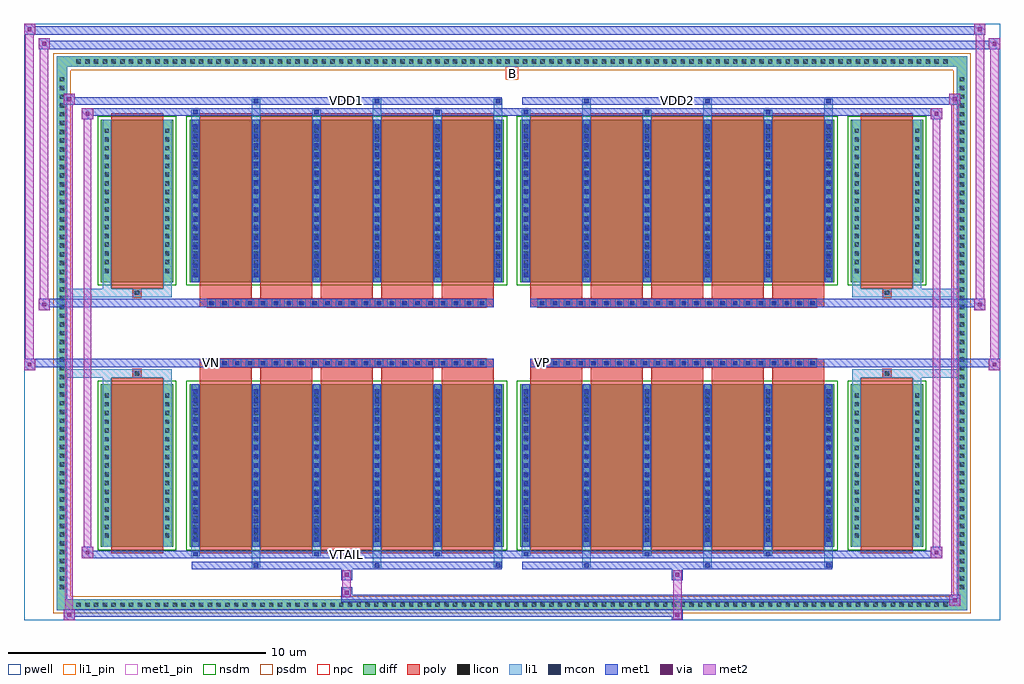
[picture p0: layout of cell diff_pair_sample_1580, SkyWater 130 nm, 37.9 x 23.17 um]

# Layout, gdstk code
import gdstk
lib = gdstk.Library(unit=1e-6, precision=5e-09)
def R(c, l, rs):  # rectangles x0, y0, x1, y1
    for r in rs: c.add(gdstk.rectangle(r[:2], r[2:], *l))
def A(c, l, x, y, w, h, nx, ny, dx, dy):  # array of equal rectangles
    R(c, l, [(x+i*dx, y+j*dy, x+i*dx+w, y+j*dy+h) for i in range(nx) for j in range(ny)])
def P(c, l, *ps):  # polygons
    for p in ps: c.add(gdstk.Polygon(p, *l))
pwell = (64, 44)
diff = (65, 20)
poly = (66, 20)
licon = (66, 44)
li1_pin = (67, 16)
li1 = (67, 20)
mcon = (67, 44)
met1_pin = (68, 16)
met1 = (68, 20)
via = (68, 44)
met2 = (69, 20)
nsdm = (93, 44)
psdm = (94, 20)
npc = (95, 20)

diff_pair_sample_1580 = lib.new_cell('diff_pair_sample_1580')
R(diff_pair_sample_1580, pwell, [(-18.95,-11.15,18.95,12.02), (-16.27,-9.34,-0.01,-0.8), (0.01,-9.34,16.27,-0.8), (-16.27,0.8,-0.01,9.34), (0.01,0.8,16.27,9.34)])
A(diff_pair_sample_1580, diff, -17.035, -10.75, 0.41, 0.41, 100, 2, 0.34, 21.09)
A(diff_pair_sample_1580, diff, -17.68, -10.065, 0.41, 0.41, 1, 59, 0, 0.34)
A(diff_pair_sample_1580, diff, 17.27, -10.065, 0.41, 0.41, 1, 59, 0, 0.34)
R(diff_pair_sample_1580, diff, [(-17.035,-10.75,17.035,-10.34), (-17.68,-10.065,-17.27,10.065), (17.27,-10.065,17.68,10.065), (-15.96,-8.295,-13.16,-1.985), (-12.52,-8.295,-0.32,-1.985), (0.32,-8.295,12.52,-1.985), (13.16,-8.295,15.96,-1.985), (-15.96,1.985,-13.16,8.295), (-12.52,1.985,-0.32,8.295), (0.32,1.985,12.52,8.295), (13.16,1.985,15.96,8.295), (-17.035,10.34,17.035,10.75)])
P(diff_pair_sample_1580, diff, [(17.68,10.75),(-17.68,10.75),(-17.68,-10.34),(-17.27,-10.34),(-17.27,10.34),(17.27,10.34),(17.27,-10.34),(-17.27,-10.34),(-17.68,-10.34),(-17.68,-10.75),(17.68,-10.75)])
A(diff_pair_sample_1580, poly, -12.13, -8.545, 2.02, 6.81, 5, 2, 2.35, 10.28)
A(diff_pair_sample_1580, poly, 0.71, -8.545, 2.02, 6.81, 5, 2, 2.35, 10.28)
A(diff_pair_sample_1580, poly, -12.13, -1.735, 2.02, 0.405, 5, 2, 2.35, 3.065)
A(diff_pair_sample_1580, poly, 0.71, -1.735, 2.02, 0.405, 5, 2, 2.35, 3.065)
A(diff_pair_sample_1580, poly, -11.835, -1.33, 0.33, 0.33, 22, 2, 0.5, 2.33)
A(diff_pair_sample_1580, poly, 1.005, -1.33, 0.33, 0.33, 22, 2, 0.5, 2.33)
R(diff_pair_sample_1580, poly, [(-15.57,-8.545,-13.55,-1.735), (13.55,-8.545,15.57,-1.735), (-14.725,-1.735,-14.395,-1.405), (-14.725,-1.735,-14.395,-1.405), (14.395,-1.735,14.725,-1.405), (14.395,-1.735,14.725,-1.405), (-12.13,-1.33,-0.71,-1), (0.71,-1.33,12.13,-1), (-12.13,1,-0.71,1.33), (0.71,1,12.13,1.33), (-14.725,1.405,-14.395,1.735), (-14.725,1.405,-14.395,1.735), (14.395,1.405,14.725,1.735), (14.395,1.405,14.725,1.735), (-15.57,1.735,-13.55,8.545), (13.55,1.735,15.57,8.545)])
A(diff_pair_sample_1580, licon, -16.915, -10.63, 0.17, 0.17, 100, 2, 0.34, 21.09)
A(diff_pair_sample_1580, licon, -17.56, -9.945, 0.17, 0.17, 1, 59, 0, 0.34)
A(diff_pair_sample_1580, licon, 17.39, -9.945, 0.17, 0.17, 1, 59, 0, 0.34)
A(diff_pair_sample_1580, licon, -15.82, -7.945, 0.17, 0.17, 1, 17, 0, 0.34)
A(diff_pair_sample_1580, licon, -13.47, -7.945, 0.17, 0.17, 1, 17, 0, 0.34)
A(diff_pair_sample_1580, licon, -12.38, -7.945, 0.17, 0.17, 6, 17, 2.35, 0.34)
A(diff_pair_sample_1580, licon, 0.46, -7.945, 0.17, 0.17, 6, 17, 2.35, 0.34)
A(diff_pair_sample_1580, licon, 13.3, -7.945, 0.17, 0.17, 1, 17, 0, 0.34)
A(diff_pair_sample_1580, licon, 15.65, -7.945, 0.17, 0.17, 1, 17, 0, 0.34)
A(diff_pair_sample_1580, licon, -11.755, -1.25, 0.17, 0.17, 22, 2, 0.5, 2.33)
A(diff_pair_sample_1580, licon, 1.085, -1.25, 0.17, 0.17, 22, 2, 0.5, 2.33)
A(diff_pair_sample_1580, licon, -15.82, 2.335, 0.17, 0.17, 1, 17, 0, 0.34)
A(diff_pair_sample_1580, licon, -13.47, 2.335, 0.17, 0.17, 1, 17, 0, 0.34)
A(diff_pair_sample_1580, licon, -12.38, 2.335, 0.17, 0.17, 6, 17, 2.35, 0.34)
A(diff_pair_sample_1580, licon, 0.46, 2.335, 0.17, 0.17, 6, 17, 2.35, 0.34)
A(diff_pair_sample_1580, licon, 13.3, 2.335, 0.17, 0.17, 1, 17, 0, 0.34)
A(diff_pair_sample_1580, licon, 15.65, 2.335, 0.17, 0.17, 1, 17, 0, 0.34)
R(diff_pair_sample_1580, licon, [(-14.645,-1.655,-14.475,-1.485), (14.475,-1.655,14.645,-1.485), (-14.645,1.485,-14.475,1.655), (14.475,1.485,14.645,1.655)])
R(diff_pair_sample_1580, li1_pin, [(-0.25,9.84,0.25,10.34)])
A(diff_pair_sample_1580, li1, -16.995, -10.71, 0.33, 0.33, 100, 2, 0.34, 21.09)
A(diff_pair_sample_1580, li1, -17.64, -10.025, 0.33, 0.33, 1, 59, 0, 0.34)
A(diff_pair_sample_1580, li1, 17.31, -10.025, 0.33, 0.33, 1, 59, 0, 0.34)
A(diff_pair_sample_1580, li1, -10.11, -9.1, 0.33, 0.805, 3, 2, 4.7, 17.395)
A(diff_pair_sample_1580, li1, -10.03, -9.1, 0.17, 0.17, 3, 2, 4.7, 18.03)
A(diff_pair_sample_1580, li1, 2.73, -9.1, 0.33, 0.805, 3, 2, 4.7, 17.395)
A(diff_pair_sample_1580, li1, 2.81, -9.1, 0.17, 0.17, 3, 2, 4.7, 18.03)
A(diff_pair_sample_1580, li1, -12.46, -8.67, 0.33, 0.375, 3, 2, 4.7, 16.965)
A(diff_pair_sample_1580, li1, -12.38, -8.67, 0.17, 0.17, 3, 2, 4.7, 17.17)
A(diff_pair_sample_1580, li1, 0.38, -8.67, 0.33, 0.375, 3, 2, 4.7, 16.965)
A(diff_pair_sample_1580, li1, 0.46, -8.67, 0.17, 0.17, 3, 2, 4.7, 17.17)
A(diff_pair_sample_1580, li1, -12.46, -8.295, 0.33, 6.31, 6, 2, 2.35, 10.28)
A(diff_pair_sample_1580, li1, 0.38, -8.295, 0.33, 6.31, 6, 2, 2.35, 10.28)
A(diff_pair_sample_1580, li1, -12.38, -8.105, 0.17, 0.17, 6, 17, 2.35, 0.36)
A(diff_pair_sample_1580, li1, -12.38, -8.105, 0.17, 5.93, 6, 2, 2.35, 10.28)
A(diff_pair_sample_1580, li1, 0.46, -8.105, 0.17, 0.17, 6, 17, 2.35, 0.36)
A(diff_pair_sample_1580, li1, 0.46, -8.105, 0.17, 5.93, 6, 2, 2.35, 10.28)
A(diff_pair_sample_1580, li1, -15.9, -8.025, 0.33, 0.33, 1, 17, 0, 0.34)
A(diff_pair_sample_1580, li1, -13.55, -8.025, 0.33, 0.33, 1, 17, 0, 0.34)
A(diff_pair_sample_1580, li1, -12.46, -8.025, 0.33, 0.33, 6, 17, 2.35, 0.34)
A(diff_pair_sample_1580, li1, 0.38, -8.025, 0.33, 0.33, 6, 17, 2.35, 0.34)
A(diff_pair_sample_1580, li1, 13.22, -8.025, 0.33, 0.33, 1, 17, 0, 0.34)
A(diff_pair_sample_1580, li1, 15.57, -8.025, 0.33, 0.33, 1, 17, 0, 0.34)
A(diff_pair_sample_1580, li1, -11.835, -1.33, 0.33, 0.33, 22, 2, 0.5, 2.33)
A(diff_pair_sample_1580, li1, 1.005, -1.33, 0.33, 0.33, 22, 2, 0.5, 2.33)
A(diff_pair_sample_1580, li1, -12.38, 2.175, 0.17, 0.17, 6, 17, 2.35, 0.36)
A(diff_pair_sample_1580, li1, 0.46, 2.175, 0.17, 0.17, 6, 17, 2.35, 0.36)
A(diff_pair_sample_1580, li1, -15.9, 2.255, 0.33, 0.33, 1, 17, 0, 0.34)
A(diff_pair_sample_1580, li1, -13.55, 2.255, 0.33, 0.33, 1, 17, 0, 0.34)
A(diff_pair_sample_1580, li1, -12.46, 2.255, 0.33, 0.33, 6, 17, 2.35, 0.34)
A(diff_pair_sample_1580, li1, 0.38, 2.255, 0.33, 0.33, 6, 17, 2.35, 0.34)
A(diff_pair_sample_1580, li1, 13.22, 2.255, 0.33, 0.33, 1, 17, 0, 0.34)
A(diff_pair_sample_1580, li1, 15.57, 2.255, 0.33, 0.33, 1, 17, 0, 0.34)
R(diff_pair_sample_1580, li1, [(-17.68,-10.75,-17.27,-10.34), (-17.68,-10.75,-17.27,-10.34), (-17.27,-10.75,17.27,-10.34), (17.27,-10.75,17.68,-10.34), (17.27,-10.75,17.68,-10.34), (-17.68,-10.34,-17.27,10.34), (17.27,-10.34,17.68,10.34), (-15.9,-8.295,-15.57,-1.985), (-13.55,-8.295,-13.22,-1.985), (13.22,-8.295,13.55,-1.985), (15.57,-8.295,15.9,-1.985), (-15.9,-1.985,-15.57,-1.405), (-13.55,-1.985,-13.22,-1.405), (13.22,-1.985,13.55,-1.405), (15.57,-1.985,15.9,-1.405), (-17.68,-1.735,-14.725,-1.405), (-15.9,-1.735,-14.725,-1.405), (-14.725,-1.735,-14.395,-1.405), (-14.395,-1.735,-13.22,-1.405), (13.22,-1.735,14.395,-1.405), (14.395,-1.735,14.725,-1.405), (14.395,-1.735,17.68,-1.405), (14.725,-1.735,15.9,-1.405), (-17.68,1.405,-14.725,1.735), (-15.9,1.405,-14.725,1.735), (-15.9,1.405,-15.57,1.985), (-14.725,1.405,-14.395,1.735), (-14.395,1.405,-13.22,1.735), (-13.55,1.405,-13.22,1.985), (13.22,1.405,14.395,1.735), (13.22,1.405,13.55,1.985), (14.395,1.405,14.725,1.735), (14.395,1.405,17.68,1.735), (14.725,1.405,15.9,1.735), (15.57,1.405,15.9,1.985), (-15.9,1.985,-15.57,8.295), (-13.55,1.985,-13.22,8.295), (13.22,1.985,13.55,8.295), (15.57,1.985,15.9,8.295), (-17.68,10.34,-17.27,10.75), (-17.68,10.34,-17.27,10.75), (-17.27,10.34,17.27,10.75), (17.27,10.34,17.68,10.75), (17.27,10.34,17.68,10.75)])
A(diff_pair_sample_1580, mcon, -10.03, -9.1, 0.17, 0.17, 3, 2, 4.7, 18.03)
A(diff_pair_sample_1580, mcon, 2.81, -9.1, 0.17, 0.17, 3, 2, 4.7, 18.03)
A(diff_pair_sample_1580, mcon, -12.38, -8.67, 0.17, 0.17, 3, 2, 4.7, 17.17)
A(diff_pair_sample_1580, mcon, 0.46, -8.67, 0.17, 0.17, 3, 2, 4.7, 17.17)
A(diff_pair_sample_1580, mcon, -12.38, -8.105, 0.17, 0.17, 6, 17, 2.35, 0.36)
A(diff_pair_sample_1580, mcon, 0.46, -8.105, 0.17, 0.17, 6, 17, 2.35, 0.36)
A(diff_pair_sample_1580, mcon, -11.755, -1.25, 0.17, 0.17, 22, 2, 0.5, 2.33)
A(diff_pair_sample_1580, mcon, 1.085, -1.25, 0.17, 0.17, 22, 2, 0.5, 2.33)
A(diff_pair_sample_1580, mcon, -12.38, 2.175, 0.17, 0.17, 6, 17, 2.35, 0.36)
A(diff_pair_sample_1580, mcon, 0.46, 2.175, 0.17, 0.17, 6, 17, 2.35, 0.36)
R(diff_pair_sample_1580, met1_pin, [(-6.555,-8.71,-6.285,-8.44), (-11.805,-1.29,-11.535,-1.02), (1.035,-1.29,1.305,-1.02), (-6.555,8.89,-6.285,9.16), (6.285,8.89,6.555,9.16)])
A(diff_pair_sample_1580, met1, -10.09, -9.16, 0.29, 0.29, 3, 2, 4.7, 18.03)
A(diff_pair_sample_1580, met1, 2.75, -9.16, 0.29, 0.29, 3, 2, 4.7, 18.03)
A(diff_pair_sample_1580, met1, -12.44, -8.73, 0.29, 0.29, 3, 2, 4.7, 17.17)
A(diff_pair_sample_1580, met1, 0.4, -8.73, 0.29, 0.29, 3, 2, 4.7, 17.17)
A(diff_pair_sample_1580, met1, -12.44, -8.295, 0.29, 6.31, 6, 2, 2.35, 10.28)
A(diff_pair_sample_1580, met1, 0.4, -8.295, 0.29, 6.31, 6, 2, 2.35, 10.28)
A(diff_pair_sample_1580, met1, -12.44, -8.165, 0.29, 0.29, 6, 17, 2.35, 0.36)
A(diff_pair_sample_1580, met1, 0.4, -8.165, 0.29, 0.29, 6, 17, 2.35, 0.36)
A(diff_pair_sample_1580, met1, -11.815, -1.31, 0.29, 0.29, 22, 2, 0.5, 2.33)
A(diff_pair_sample_1580, met1, 1.025, -1.31, 0.29, 0.29, 22, 2, 0.5, 2.33)
A(diff_pair_sample_1580, met1, -12.44, 2.115, 0.29, 0.29, 6, 17, 2.35, 0.36)
A(diff_pair_sample_1580, met1, 0.4, 2.115, 0.29, 0.29, 6, 17, 2.35, 0.36)
R(diff_pair_sample_1580, met1, [(-17.41,-11.15,-16.98,-10.72), (6.205,-11.15,6.635,-10.72), (-17.41,-11.01,6.635,-10.72), (16.98,-10.58,17.41,-10.15), (-6.635,-10.44,17.41,-10.15), (-6.635,-10.3,-6.205,-9.87), (-6.635,-9.59,-6.205,-9.16), (6.205,-9.59,6.635,-9.16), (-12.44,-9.16,-0.4,-8.87), (0.4,-9.16,12.44,-8.87), (-16.7,-8.73,-16.27,-8.3), (-16.7,-8.73,-12.44,-8.44), (-12.44,-8.73,-0.4,-8.44), (-0.4,-8.73,0.4,-8.44), (0.4,-8.73,12.44,-8.44), (12.44,-8.73,16.7,-8.44), (16.27,-8.73,16.7,-8.3), (-18.95,-1.43,-18.52,-1), (18.52,-1.43,18.95,-1), (-18.95,-1.33,-0.71,-1), (-12.13,-1.33,-0.71,-1), (0.71,-1.33,12.13,-1), (0.71,-1.33,18.95,-1), (-18.38,0.9,-17.95,1.33), (17.95,0.9,18.38,1.33), (-18.38,1,-12.13,1.33), (-12.13,1,-0.71,1.33), (0.71,1,12.13,1.33), (12.13,1,18.38,1.33), (-16.7,8.3,-16.27,8.73), (16.27,8.3,16.7,8.73), (-16.7,8.44,-12.44,8.73), (-12.44,8.44,-0.4,8.73), (-0.4,8.44,0.4,8.73), (0.4,8.44,12.44,8.73), (12.44,8.44,16.7,8.73), (-17.41,8.87,-16.98,9.3), (-17.41,8.87,-12.44,9.16), (-12.44,8.87,-0.4,9.16), (0.4,8.87,12.44,9.16), (12.44,8.87,17.41,9.16), (16.98,8.87,17.41,9.3), (-18.38,11.02,-17.95,11.45), (-18.38,11.02,-16.27,11.35), (-16.27,11.02,16.27,11.35), (16.27,11.02,18.95,11.35), (18.52,11.02,18.95,11.45), (-18.95,11.59,-18.52,12.02), (-18.95,11.59,-16.27,11.92), (-16.27,11.59,16.27,11.92), (16.27,11.59,18.38,11.92), (17.95,11.59,18.38,12.02)])
R(diff_pair_sample_1580, via, [(-17.27,-11.01,-17.12,-10.86), (6.345,-11.01,6.495,-10.86), (17.12,-10.44,17.27,-10.29), (-6.495,-10.16,-6.345,-10.01), (-6.495,-9.45,-6.345,-9.3), (6.345,-9.45,6.495,-9.3), (-16.56,-8.59,-16.41,-8.44), (16.41,-8.59,16.56,-8.44), (-18.81,-1.29,-18.66,-1.14), (18.66,-1.29,18.81,-1.14), (-18.24,1.04,-18.09,1.19), (18.09,1.04,18.24,1.19), (-16.56,8.44,-16.41,8.59), (16.41,8.44,16.56,8.59), (-17.27,9.01,-17.12,9.16), (17.12,9.01,17.27,9.16), (-18.24,11.16,-18.09,11.31), (18.66,11.16,18.81,11.31), (-18.81,11.73,-18.66,11.88), (18.09,11.73,18.24,11.88)])
R(diff_pair_sample_1580, met2, [(-17.41,-11.15,-16.98,-10.72), (-17.34,-11.15,-17.05,9.3), (-17.05,-11.15,-16.98,-10.72), (-17.36,-11.1,-17.03,-10.77), (6.255,-11.1,6.585,-10.77), (6.255,-10.77,6.585,-9.54), (16.98,-10.58,17.41,-10.15), (17.05,-10.58,17.34,9.3), (17.34,-10.58,17.41,-10.15), (17.03,-10.53,17.36,-10.2), (-6.585,-10.25,-6.255,-9.92), (-6.585,-9.92,-6.255,-9.54), (-6.585,-9.54,-6.255,-9.21), (6.255,-9.54,6.585,-9.21), (-16.7,-8.73,-16.27,-8.3), (-16.63,-8.73,-16.34,8.73), (-16.34,-8.73,-16.27,-8.3), (16.27,-8.73,16.7,-8.3), (16.34,-8.73,16.63,8.73), (16.63,-8.73,16.7,-8.3), (-16.65,-8.68,-16.32,-8.35), (16.32,-8.68,16.65,-8.35), (-18.95,-1.43,-18.52,-1), (-18.9,-1.43,-18.57,12.02), (-18.57,-1.43,-18.52,-1), (18.52,-1.43,18.95,-1), (18.57,-1.43,18.9,11.45), (18.9,-1.43,18.95,-1), (-18.9,-1.38,-18.57,-1.05), (18.57,-1.38,18.9,-1.05), (-18.38,0.9,-17.95,1.33), (-18.33,0.9,-18,11.45), (-18,0.9,-17.95,1.33), (17.95,0.9,18.38,1.33), (18,0.9,18.33,12.02), (18.33,0.9,18.38,1.33), (-18.33,0.95,-18,1.28), (18,0.95,18.33,1.28), (-16.7,8.3,-16.27,8.73), (-16.34,8.3,-16.27,8.73), (16.27,8.3,16.7,8.73), (16.63,8.3,16.7,8.73), (-16.65,8.35,-16.32,8.68), (16.32,8.35,16.65,8.68), (-17.41,8.87,-16.98,9.3), (-17.05,8.87,-16.98,9.3), (16.98,8.87,17.41,9.3), (17.34,8.87,17.41,9.3), (-17.36,8.92,-17.03,9.25), (17.03,8.92,17.36,9.25), (-18.38,11.02,-17.95,11.45), (-18,11.02,-17.95,11.45), (18.52,11.02,18.95,11.45), (18.9,11.02,18.95,11.45), (-18.33,11.07,-18,11.4), (18.57,11.07,18.9,11.4), (-18.95,11.59,-18.52,12.02), (-18.57,11.59,-18.52,12.02), (17.95,11.59,18.38,12.02), (18.33,11.59,18.38,12.02), (-18.9,11.64,-18.57,11.97), (18,11.64,18.33,11.97)])
R(diff_pair_sample_1580, nsdm, [(-16.09,-8.425,-13.03,-1.855), (-12.65,-8.425,-0.19,-1.855), (0.19,-8.425,12.65,-1.855), (13.03,-8.425,16.09,-1.855), (-16.09,1.855,-13.03,8.425), (-12.65,1.855,-0.19,8.425), (0.19,1.855,12.65,8.425), (13.03,1.855,16.09,8.425)])
P(diff_pair_sample_1580, psdm, [(17.81,10.88),(-17.81,10.88),(-17.81,-10.21),(-17.14,-10.21),(-17.14,10.21),(17.14,10.21),(17.14,-10.21),(-17.14,-10.21),(-17.81,-10.21),(-17.81,-10.88),(17.81,-10.88)])
A(diff_pair_sample_1580, npc, -11.855, -1.35, 0.37, 0.37, 22, 2, 0.5, 2.33)
A(diff_pair_sample_1580, npc, 0.985, -1.35, 0.37, 0.37, 22, 2, 0.5, 2.33)
R(diff_pair_sample_1580, npc, [(-14.745,-1.755,-14.375,-1.385), (14.375,-1.755,14.745,-1.385), (-11.855,-1.35,-10.985,-0.98), (-11.855,-1.35,-10.985,-0.98), (-11.355,-1.35,-10.485,-0.98), (-11.355,-1.35,-10.485,-0.98), (-10.855,-1.35,-9.985,-0.98), (-10.855,-1.35,-9.985,-0.98), (-10.355,-1.35,-9.485,-0.98), (-10.355,-1.35,-9.485,-0.98), (-9.855,-1.35,-8.985,-0.98), (-9.855,-1.35,-8.985,-0.98), (-9.355,-1.35,-8.485,-0.98), (-9.355,-1.35,-8.485,-0.98), (-8.855,-1.35,-7.985,-0.98), (-8.855,-1.35,-7.985,-0.98), (-8.355,-1.35,-7.485,-0.98), (-8.355,-1.35,-7.485,-0.98), (-7.855,-1.35,-6.985,-0.98), (-7.855,-1.35,-6.985,-0.98), (-7.355,-1.35,-6.485,-0.98), (-7.355,-1.35,-6.485,-0.98), (-6.855,-1.35,-5.985,-0.98), (-6.855,-1.35,-5.985,-0.98), (-6.355,-1.35,-5.485,-0.98), (-6.355,-1.35,-5.485,-0.98), (-5.855,-1.35,-4.985,-0.98), (-5.855,-1.35,-4.985,-0.98), (-5.355,-1.35,-4.485,-0.98), (-5.355,-1.35,-4.485,-0.98), (-4.855,-1.35,-3.985,-0.98), (-4.855,-1.35,-3.985,-0.98), (-4.355,-1.35,-3.485,-0.98), (-4.355,-1.35,-3.485,-0.98), (-3.855,-1.35,-2.985,-0.98), (-3.855,-1.35,-2.985,-0.98), (-3.355,-1.35,-2.485,-0.98), (-3.355,-1.35,-2.485,-0.98), (-2.855,-1.35,-1.985,-0.98), (-2.855,-1.35,-1.985,-0.98), (-2.355,-1.35,-1.485,-0.98), (-2.355,-1.35,-1.485,-0.98), (-1.855,-1.35,-0.985,-0.98), (-1.855,-1.35,-0.985,-0.98), (0.985,-1.35,1.855,-0.98), (0.985,-1.35,1.855,-0.98), (1.485,-1.35,2.355,-0.98), (1.485,-1.35,2.355,-0.98), (1.985,-1.35,2.855,-0.98), (1.985,-1.35,2.855,-0.98), (2.485,-1.35,3.355,-0.98), (2.485,-1.35,3.355,-0.98), (2.985,-1.35,3.855,-0.98), (2.985,-1.35,3.855,-0.98), (3.485,-1.35,4.355,-0.98), (3.485,-1.35,4.355,-0.98), (3.985,-1.35,4.855,-0.98), (3.985,-1.35,4.855,-0.98), (4.485,-1.35,5.355,-0.98), (4.485,-1.35,5.355,-0.98), (4.985,-1.35,5.855,-0.98), (4.985,-1.35,5.855,-0.98), (5.485,-1.35,6.355,-0.98), (5.485,-1.35,6.355,-0.98), (5.985,-1.35,6.855,-0.98), (5.985,-1.35,6.855,-0.98), (6.485,-1.35,7.355,-0.98), (6.485,-1.35,7.355,-0.98), (6.985,-1.35,7.855,-0.98), (6.985,-1.35,7.855,-0.98), (7.485,-1.35,8.355,-0.98), (7.485,-1.35,8.355,-0.98), (7.985,-1.35,8.855,-0.98), (7.985,-1.35,8.855,-0.98), (8.485,-1.35,9.355,-0.98), (8.485,-1.35,9.355,-0.98), (8.985,-1.35,9.855,-0.98), (8.985,-1.35,9.855,-0.98), (9.485,-1.35,10.355,-0.98), (9.485,-1.35,10.355,-0.98), (9.985,-1.35,10.855,-0.98), (9.985,-1.35,10.855,-0.98), (10.485,-1.35,11.355,-0.98), (10.485,-1.35,11.355,-0.98), (10.985,-1.35,11.855,-0.98), (10.985,-1.35,11.855,-0.98), (-11.855,0.98,-10.985,1.35), (-11.855,0.98,-10.985,1.35), (-11.355,0.98,-10.485,1.35), (-11.355,0.98,-10.485,1.35), (-10.855,0.98,-9.985,1.35), (-10.855,0.98,-9.985,1.35), (-10.355,0.98,-9.485,1.35), (-10.355,0.98,-9.485,1.35), (-9.855,0.98,-8.985,1.35), (-9.855,0.98,-8.985,1.35), (-9.355,0.98,-8.485,1.35), (-9.355,0.98,-8.485,1.35), (-8.855,0.98,-7.985,1.35), (-8.855,0.98,-7.985,1.35), (-8.355,0.98,-7.485,1.35), (-8.355,0.98,-7.485,1.35), (-7.855,0.98,-6.985,1.35), (-7.855,0.98,-6.985,1.35), (-7.355,0.98,-6.485,1.35), (-7.355,0.98,-6.485,1.35), (-6.855,0.98,-5.985,1.35), (-6.855,0.98,-5.985,1.35), (-6.355,0.98,-5.485,1.35), (-6.355,0.98,-5.485,1.35), (-5.855,0.98,-4.985,1.35), (-5.855,0.98,-4.985,1.35), (-5.355,0.98,-4.485,1.35), (-5.355,0.98,-4.485,1.35), (-4.855,0.98,-3.985,1.35), (-4.855,0.98,-3.985,1.35), (-4.355,0.98,-3.485,1.35), (-4.355,0.98,-3.485,1.35), (-3.855,0.98,-2.985,1.35), (-3.855,0.98,-2.985,1.35), (-3.355,0.98,-2.485,1.35), (-3.355,0.98,-2.485,1.35), (-2.855,0.98,-1.985,1.35), (-2.855,0.98,-1.985,1.35), (-2.355,0.98,-1.485,1.35), (-2.355,0.98,-1.485,1.35), (-1.855,0.98,-0.985,1.35), (-1.855,0.98,-0.985,1.35), (0.985,0.98,1.855,1.35), (0.985,0.98,1.855,1.35), (1.485,0.98,2.355,1.35), (1.485,0.98,2.355,1.35), (1.985,0.98,2.855,1.35), (1.985,0.98,2.855,1.35), (2.485,0.98,3.355,1.35), (2.485,0.98,3.355,1.35), (2.985,0.98,3.855,1.35), (2.985,0.98,3.855,1.35), (3.485,0.98,4.355,1.35), (3.485,0.98,4.355,1.35), (3.985,0.98,4.855,1.35), (3.985,0.98,4.855,1.35), (4.485,0.98,5.355,1.35), (4.485,0.98,5.355,1.35), (4.985,0.98,5.855,1.35), (4.985,0.98,5.855,1.35), (5.485,0.98,6.355,1.35), (5.485,0.98,6.355,1.35), (5.985,0.98,6.855,1.35), (5.985,0.98,6.855,1.35), (6.485,0.98,7.355,1.35), (6.485,0.98,7.355,1.35), (6.985,0.98,7.855,1.35), (6.985,0.98,7.855,1.35), (7.485,0.98,8.355,1.35), (7.485,0.98,8.355,1.35), (7.985,0.98,8.855,1.35), (7.985,0.98,8.855,1.35), (8.485,0.98,9.355,1.35), (8.485,0.98,9.355,1.35), (8.985,0.98,9.855,1.35), (8.985,0.98,9.855,1.35), (9.485,0.98,10.355,1.35), (9.485,0.98,10.355,1.35), (9.985,0.98,10.855,1.35), (9.985,0.98,10.855,1.35), (10.485,0.98,11.355,1.35), (10.485,0.98,11.355,1.35), (10.985,0.98,11.855,1.35), (10.985,0.98,11.855,1.35), (-14.745,1.385,-14.375,1.755), (14.375,1.385,14.745,1.755)])
diff_pair_sample_1580.add(gdstk.Label('VTAIL', (-6.42,-8.575), layer=68, texttype=5))
diff_pair_sample_1580.add(gdstk.Label('VN', (-11.67,-1.155), layer=68, texttype=5))
diff_pair_sample_1580.add(gdstk.Label('VP', (1.17,-1.155), layer=68, texttype=5))
diff_pair_sample_1580.add(gdstk.Label('B', (0,10.09), layer=67, texttype=5))
diff_pair_sample_1580.add(gdstk.Label('VDD2', (6.42,9.025), layer=68, texttype=5))
diff_pair_sample_1580.add(gdstk.Label('VDD1', (-6.42,9.025), layer=68, texttype=5))

lib.write_gds('diff_pair_sample_1580.gds')
